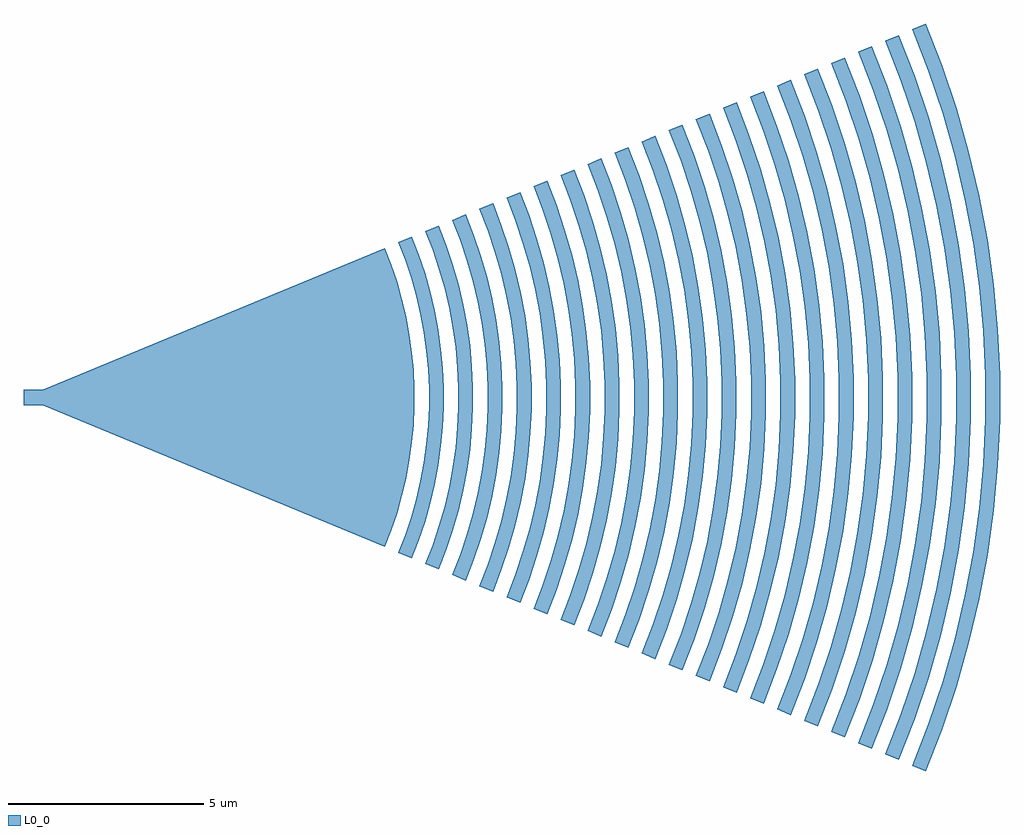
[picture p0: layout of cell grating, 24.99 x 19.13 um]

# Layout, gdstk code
import gdstk
lib = gdstk.Library(unit=1e-6, precision=1e-09)
def P(c, l, *ps):  # polygons
    for p in ps: c.add(gdstk.Polygon(p, *l))
L0_0 = (0, 0)

grating = lib.new_cell('grating')
P(grating, L0_0, [(9.585,-3.97),(9.758,-3.523),(9.911,-3.069),(10.042,-2.608),(10.152,-2.141),(10.24,-1.67),(10.306,-1.196),(10.35,-0.718),(10.372,-0.24),(10.372,0.24),(10.35,0.718),(10.306,1.196),(10.24,1.67),(10.152,2.141),(10.042,2.608),(9.911,3.069),(9.758,3.523),(9.585,3.97),(9.932,4.114),(10.111,3.651),(10.269,3.18),(10.405,2.702),(10.519,2.219),(10.61,1.731),(10.678,1.239),(10.724,0.744),(10.747,0.248),(10.747,-0.248),(10.724,-0.744),(10.678,-1.239),(10.61,-1.731),(10.519,-2.219),(10.405,-2.702),(10.269,-3.18),(10.111,-3.651),(9.932,-4.114)],
  [(10.278,-4.257),(10.464,-3.778),(10.627,-3.291),(10.768,-2.797),(10.885,-2.296),(10.98,-1.791),(11.051,-1.282),(11.098,-0.77),(11.122,-0.257),(11.122,0.257),(11.098,0.77),(11.051,1.282),(10.98,1.791),(10.885,2.296),(10.768,2.797),(10.627,3.291),(10.464,3.778),(10.278,4.257),(10.625,4.401),(10.817,3.905),(10.985,3.402),(11.131,2.891),(11.252,2.374),(11.35,1.851),(11.423,1.325),(11.472,0.796),(11.497,0.266),(11.497,-0.266),(11.472,-0.796),(11.423,-1.325),(11.35,-1.851),(11.252,-2.374),(11.131,-2.891),(10.985,-3.402),(10.817,-3.905),(10.625,-4.401)],
  [(10.971,-4.544),(11.169,-4.033),(11.344,-3.513),(11.494,-2.985),(11.619,-2.451),(11.72,-1.912),(11.796,-1.369),(11.846,-0.822),(11.872,-0.274),(11.872,0.274),(11.846,0.822),(11.796,1.369),(11.72,1.912),(11.619,2.451),(11.494,2.985),(11.344,3.513),(11.169,4.033),(10.971,4.544),(11.318,4.688),(11.522,4.16),(11.702,3.624),(11.857,3.079),(11.986,2.528),(12.09,1.972),(12.168,1.412),(12.221,0.848),(12.247,0.283),(12.247,-0.283),(12.221,-0.848),(12.168,-1.412),(12.09,-1.972),(11.986,-2.528),(11.857,-3.079),(11.702,-3.624),(11.522,-4.16),(11.318,-4.688)],
  [(11.664,-4.831),(11.875,-4.288),(12.06,-3.735),(12.22,-3.174),(12.353,-2.606),(12.46,-2.033),(12.541,-1.455),(12.595,-0.874),(12.622,-0.292),(12.622,0.292),(12.595,0.874),(12.541,1.455),(12.46,2.033),(12.353,2.606),(12.22,3.174),(12.06,3.735),(11.875,4.288),(11.664,4.831),(12.01,4.975),(12.227,4.415),(12.418,3.845),(12.583,3.268),(12.72,2.683),(12.83,2.093),(12.913,1.498),(12.969,0.9),(12.997,0.3),(12.997,-0.3),(12.969,-0.9),(12.913,-1.498),(12.83,-2.093),(12.72,-2.683),(12.583,-3.268),(12.418,-3.845),(12.227,-4.415),(12.01,-4.975)],
  [(12.357,-5.118),(12.58,-4.542),(12.776,-3.956),(12.946,-3.362),(13.087,-2.761),(13.201,-2.153),(13.286,-1.541),(13.343,-0.926),(13.371,-0.309),(13.371,0.309),(13.343,0.926),(13.286,1.541),(13.201,2.153),(13.087,2.761),(12.946,3.362),(12.776,3.956),(12.58,4.542),(12.357,5.118),(12.703,5.262),(12.933,4.67),(13.135,4.067),(13.308,3.456),(13.454,2.838),(13.571,2.214),(13.658,1.585),(13.717,0.952),(13.746,0.318),(13.746,-0.318),(13.717,-0.952),(13.658,-1.585),(13.571,-2.214),(13.454,-2.838),(13.308,-3.456),(13.135,-4.067),(12.933,-4.67),(12.703,-5.262)],
  [(13.05,-5.405),(13.286,-4.797),(13.493,-4.178),(13.671,-3.551),(13.821,-2.915),(13.941,-2.274),(14.031,-1.628),(14.091,-0.978),(14.121,-0.326),(14.121,0.326),(14.091,0.978),(14.031,1.628),(13.941,2.274),(13.821,2.915),(13.671,3.551),(13.493,4.178),(13.286,4.797),(13.05,5.405),(13.396,5.549),(13.638,4.924),(13.851,4.289),(14.034,3.645),(14.188,2.993),(14.311,2.334),(14.403,1.671),(14.465,1.004),(14.496,0.335),(14.496,-0.335),(14.465,-1.004),(14.403,-1.671),(14.311,-2.334),(14.188,-2.993),(14.034,-3.645),(13.851,-4.289),(13.638,-4.924),(13.396,-5.549)],
  [(13.743,-5.692),(13.991,-5.052),(14.209,-4.4),(14.397,-3.739),(14.555,-3.07),(14.681,-2.395),(14.776,-1.714),(14.839,-1.03),(14.871,-0.344),(14.871,0.344),(14.839,1.03),(14.776,1.714),(14.681,2.395),(14.555,3.07),(14.397,3.739),(14.209,4.4),(13.991,5.052),(13.743,5.692),(14.089,5.836),(14.344,5.179),(14.568,4.511),(14.76,3.833),(14.922,3.148),(15.051,2.455),(15.148,1.757),(15.213,1.056),(15.246,0.352),(15.246,-0.352),(15.213,-1.056),(15.148,-1.757),(15.051,-2.455),(14.922,-3.148),(14.76,-3.833),(14.568,-4.511),(14.344,-5.179),(14.089,-5.836)],
  [(14.436,-5.979),(14.696,-5.306),(14.926,-4.622),(15.123,-3.928),(15.289,-3.225),(15.421,-2.516),(15.521,-1.801),(15.587,-1.082),(15.621,-0.361),(15.621,0.361),(15.587,1.082),(15.521,1.801),(15.421,2.516),(15.289,3.225),(15.123,3.928),(14.926,4.622),(14.696,5.306),(14.436,5.979),(14.782,6.123),(15.049,5.434),(15.284,4.733),(15.486,4.022),(15.655,3.302),(15.791,2.576),(15.893,1.844),(15.962,1.108),(15.996,0.37),(15.996,-0.37),(15.962,-1.108),(15.893,-1.844),(15.791,-2.576),(15.655,-3.302),(15.486,-4.022),(15.284,-4.733),(15.049,-5.434),(14.782,-6.123)],
  [(15.129,-6.266),(15.402,-5.561),(15.642,-4.844),(15.849,-4.116),(16.022,-3.38),(16.161,-2.636),(16.266,-1.887),(16.336,-1.134),(16.371,-0.378),(16.371,0.378),(16.336,1.134),(16.266,1.887),(16.161,2.636),(16.022,3.38),(15.849,4.116),(15.642,4.844),(15.402,5.561),(15.129,6.266),(15.475,6.41),(15.755,5.688),(16,4.955),(16.212,4.211),(16.389,3.457),(16.531,2.697),(16.638,1.93),(16.71,1.16),(16.746,0.387),(16.746,-0.387),(16.71,-1.16),(16.638,-1.93),(16.531,-2.697),(16.389,-3.457),(16.212,-4.211),(16,-4.955),(15.755,-5.688),(15.475,-6.41)],
  [(15.821,-6.553),(16.107,-5.816),(16.359,-5.066),(16.575,-4.305),(16.756,-3.535),(16.902,-2.757),(17.011,-1.974),(17.084,-1.186),(17.12,-0.396),(17.12,0.396),(17.084,1.186),(17.011,1.974),(16.902,2.757),(16.756,3.535),(16.575,4.305),(16.359,5.066),(16.107,5.816),(15.821,6.553),(16.168,6.697),(16.46,5.943),(16.717,5.177),(16.938,4.399),(17.123,3.612),(17.272,2.817),(17.383,2.017),(17.458,1.212),(17.495,0.404),(17.495,-0.404),(17.458,-1.212),(17.383,-2.017),(17.272,-2.817),(17.123,-3.612),(16.938,-4.399),(16.717,-5.177),(16.46,-5.943),(16.168,-6.697)],
  [(16.514,-6.84),(16.813,-6.07),(17.075,-5.288),(17.301,-4.493),(17.49,-3.689),(17.642,-2.878),(17.756,-2.06),(17.832,-1.238),(17.87,-0.413),(17.87,0.413),(17.832,1.238),(17.756,2.06),(17.642,2.878),(17.49,3.689),(17.301,4.493),(17.075,5.288),(16.813,6.07),(16.514,6.84),(16.861,6.984),(17.165,6.198),(17.433,5.398),(17.664,4.588),(17.857,3.767),(18.012,2.938),(18.128,2.103),(18.206,1.264),(18.245,0.422),(18.245,-0.422),(18.206,-1.264),(18.128,-2.103),(18.012,-2.938),(17.857,-3.767),(17.664,-4.588),(17.433,-5.398),(17.165,-6.198),(16.861,-6.984)],
  [(17.207,-7.127),(17.518,-6.325),(17.791,-5.509),(18.027,-4.682),(18.224,-3.844),(18.382,-2.999),(18.501,-2.146),(18.58,-1.29),(18.62,-0.43),(18.62,0.43),(18.58,1.29),(18.501,2.146),(18.382,2.999),(18.224,3.844),(18.027,4.682),(17.791,5.509),(17.518,6.325),(17.207,7.127),(17.554,7.271),(17.871,6.453),(18.15,5.62),(18.39,4.776),(18.591,3.922),(18.752,3.059),(18.873,2.19),(18.954,1.316),(18.995,0.439),(18.995,-0.439),(18.954,-1.316),(18.873,-2.19),(18.752,-3.059),(18.591,-3.922),(18.39,-4.776),(18.15,-5.62),(17.871,-6.453),(17.554,-7.271)],
  [(17.9,-7.414),(18.223,-6.58),(18.508,-5.731),(18.753,-4.87),(18.958,-3.999),(19.122,-3.119),(19.246,-2.233),(19.328,-1.342),(19.37,-0.448),(19.37,0.448),(19.328,1.342),(19.246,2.233),(19.122,3.119),(18.958,3.999),(18.753,4.87),(18.508,5.731),(18.223,6.58),(17.9,7.414),(18.247,7.558),(18.576,6.707),(18.866,5.842),(19.116,4.965),(19.325,4.077),(19.492,3.18),(19.618,2.276),(19.703,1.368),(19.745,0.456),(19.745,-0.456),(19.703,-1.368),(19.618,-2.276),(19.492,-3.18),(19.325,-4.077),(19.116,-4.965),(18.866,-5.842),(18.576,-6.707),(18.247,-7.558)],
  [(18.593,-7.702),(18.929,-6.835),(19.224,-5.953),(19.479,-5.059),(19.692,-4.154),(19.862,-3.24),(19.991,-2.319),(20.077,-1.394),(20.12,-0.465),(20.12,0.465),(20.077,1.394),(19.991,2.319),(19.862,3.24),(19.692,4.154),(19.479,5.059),(19.224,5.953),(18.929,6.835),(18.593,7.702),(18.94,7.845),(19.282,6.962),(19.583,6.064),(19.842,5.153),(20.059,4.231),(20.233,3.3),(20.363,2.362),(20.451,1.42),(20.495,0.474),(20.495,-0.474),(20.451,-1.42),(20.363,-2.362),(20.233,-3.3),(20.059,-4.231),(19.842,-5.153),(19.583,-6.064),(19.282,-6.962),(18.94,-7.845)],
  [(19.286,-7.989),(19.634,-7.089),(19.941,-6.175),(20.205,-5.247),(20.425,-4.309),(20.603,-3.361),(20.736,-2.406),(20.825,-1.445),(20.869,-0.482),(20.869,0.482),(20.825,1.445),(20.736,2.406),(20.603,3.361),(20.425,4.309),(20.205,5.247),(19.941,6.175),(19.634,7.089),(19.286,7.989),(19.632,8.132),(19.987,7.217),(20.299,6.286),(20.568,5.342),(20.792,4.386),(20.973,3.421),(21.108,2.449),(21.199,1.471),(21.244,0.491),(21.244,-0.491),(21.199,-1.471),(21.108,-2.449),(20.973,-3.421),(20.792,-4.386),(20.568,-5.342),(20.299,-6.286),(19.987,-7.217),(19.632,-8.132)],
  [(19.979,-8.276),(20.34,-7.344),(20.657,-6.397),(20.931,-5.436),(21.159,-4.464),(21.343,-3.482),(21.481,-2.492),(21.573,-1.497),(21.619,-0.499),(21.619,0.499),(21.573,1.497),(21.481,2.492),(21.343,3.482),(21.159,4.464),(20.931,5.436),(20.657,6.397),(20.34,7.344),(19.979,8.276),(20.325,8.419),(20.692,7.471),(21.015,6.508),(21.294,5.53),(21.526,4.541),(21.713,3.542),(21.853,2.535),(21.947,1.523),(21.994,0.508),(21.994,-0.508),(21.947,-1.523),(21.853,-2.535),(21.713,-3.542),(21.526,-4.541),(21.294,-5.53),(21.015,-6.508),(20.692,-7.471),(20.325,-8.419)],
  [(20.672,-8.563),(21.045,-7.599),(21.374,-6.619),(21.657,-5.624),(21.893,-4.618),(22.083,-3.602),(22.226,-2.579),(22.321,-1.549),(22.369,-0.517),(22.369,0.517),(22.321,1.549),(22.226,2.579),(22.083,3.602),(21.893,4.618),(21.657,5.624),(21.374,6.619),(21.045,7.599),(20.672,8.563),(21.018,8.706),(21.398,7.726),(21.732,6.73),(22.019,5.719),(22.26,4.696),(22.453,3.663),(22.598,2.622),(22.695,1.575),(22.744,0.525),(22.744,-0.525),(22.695,-1.575),(22.598,-2.622),(22.453,-3.663),(22.26,-4.696),(22.019,-5.719),(21.732,-6.73),(21.398,-7.726),(21.018,-8.706)],
  [(21.365,-8.85),(21.751,-7.853),(22.09,-6.841),(22.382,-5.813),(22.627,-4.773),(22.823,-3.723),(22.971,-2.665),(23.069,-1.601),(23.119,-0.534),(23.119,0.534),(23.069,1.601),(22.971,2.665),(22.823,3.723),(22.627,4.773),(22.382,5.813),(22.09,6.841),(21.751,7.853),(21.365,8.85),(21.711,8.993),(22.103,7.981),(22.448,6.951),(22.745,5.907),(22.994,4.851),(23.193,3.783),(23.343,2.708),(23.444,1.627),(23.494,0.543),(23.494,-0.543),(23.444,-1.627),(23.343,-2.708),(23.193,-3.783),(22.994,-4.851),(22.745,-5.907),(22.448,-6.951),(22.103,-7.981),(21.711,-8.993)],
  [(22.058,-9.137),(22.456,-8.108),(22.807,-7.062),(23.108,-6.002),(23.361,-4.928),(23.564,-3.844),(23.716,-2.751),(23.818,-1.653),(23.869,-0.551),(23.869,0.551),(23.818,1.653),(23.716,2.751),(23.564,3.844),(23.361,4.928),(23.108,6.002),(22.807,7.062),(22.456,8.108),(22.058,9.137),(22.404,9.28),(22.809,8.235),(23.165,7.173),(23.471,6.096),(23.728,5.005),(23.934,3.904),(24.088,2.795),(24.192,1.679),(24.244,0.56),(24.244,-0.56),(24.192,-1.679),(24.088,-2.795),(23.934,-3.904),(23.728,-5.005),(23.471,-6.096),(23.165,-7.173),(22.809,-8.235),(22.404,-9.28)],
  [(22.751,-9.424),(23.161,-8.363),(23.523,-7.284),(23.834,-6.19),(24.095,-5.083),(24.304,-3.965),(24.461,-2.838),(24.566,-1.705),(24.618,-0.569),(24.618,0.569),(24.566,1.705),(24.461,2.838),(24.304,3.965),(24.095,5.083),(23.834,6.19),(23.523,7.284),(23.161,8.363),(22.751,9.424),(23.097,9.567),(23.514,8.49),(23.881,7.395),(24.197,6.284),(24.462,5.16),(24.674,4.025),(24.833,2.881),(24.94,1.731),(24.993,0.577),(24.993,-0.577),(24.94,-1.731),(24.833,-2.881),(24.674,-4.025),(24.462,-5.16),(24.197,-6.284),(23.881,-7.395),(23.514,-8.49),(23.097,-9.567)],
  [(9.406,-3.396),(9.552,-2.958),(9.679,-2.514),(9.785,-2.064),(9.87,-1.61),(9.933,-1.152),(9.976,-0.692),(9.997,-0.231),(9.997,0.231),(9.976,0.692),(9.933,1.152),(9.87,1.61),(9.785,2.064),(9.679,2.514),(9.552,2.958),(9.406,3.396),(9.239,3.827),(0.483,0.2),(0,0.2),(0,-0.2),(0.483,-0.2),(9.239,-3.827)])

lib.write_gds('grating.gds')
